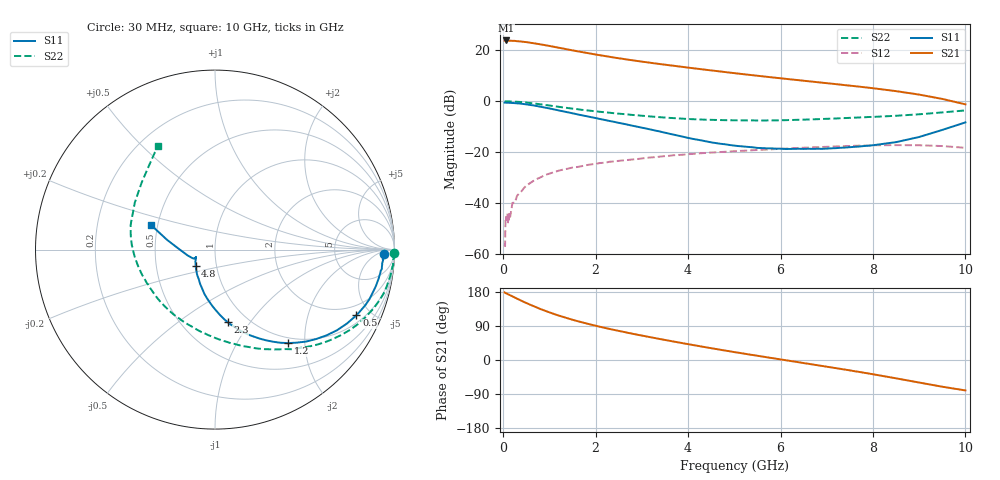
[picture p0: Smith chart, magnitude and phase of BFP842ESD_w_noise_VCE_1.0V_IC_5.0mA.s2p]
! Infineon Technologies  Discrete & RF Semiconductors
! BFP842ESD
! VCE =  1.0 V,  IC =  5.0 mA
! Common Emitter S-Parameters:  May 2012
# GHz  S  MA  R  50
!  f  S11  S21  S12  S22
! GHz  MAG  ANG  MAG  ANG  MAG  ANG  MAG  ANG
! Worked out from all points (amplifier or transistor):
!   99 points, 30 MHz to 10 GHz, reference 50 ohm
!   highest |S21| = 24.0 dB at 60 MHz (marker M1)
!   |S21| within 3 dB of that: start of sweep to 1.24 GHz
!   unconditionally stable (mu >= 1): 3.28 GHz to end of sweep
!   at 350 MHz: K = 0.17, MSG = 29.9 dB, |S12| = -36.2 dB
!   at 3.5 GHz: K = 1.03, MAG = 16.9 dB, |S12| = -21.6 dB
!   at 10 GHz: K = 2.22, MAG = 2.3 dB, |S12| = -18.3 dB
!   lowest NFmin = 0.41 dB at 450 MHz
!   S11 on the Smith chart (normalised r, x): 30 MHz: 27, -11; 500 MHz: 1.37, -4.09; 1.2 GHz: 0.90, -1.67; 2.3 GHz: 0.81, -0.78; 4.8 GHz: 0.79, -0.15; 10 GHz: 0.46, +0.15
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0.03  0.9392 -1.5  15.62 178.2  0.0015 59.4  0.9955 -1.1
0.04  0.939 -2.0  15.59 177.4  0.0014 75.4  0.9961 -1.4
0.05  0.9412 -2.8  15.51 176.5  0.005 76.9  0.9981 -1.9
0.06  0.9357 -3.3  15.76 176.0  0.0053 34.0  0.9982 -2.8
0.09  0.9347 -4.7  15.45 174.6  0.0062 75.7  0.9935 -3.8
0.11  0.9348 -5.9  15.72 173.0  0.0051 98.0  0.9951 -4.6
0.25  0.919 -12.8  15.46 164.8  0.01 86.3  0.9822 -10.5
0.5  0.869 -24.9  14.63 150.4  0.0218 73.9  0.9416 -20.5
0.8  0.7827 -37.7  13.24 134.8  0.0315 63.6  0.8731 -31.0
1  0.7219 -45.2  12.29 125.7  0.0376 58.6  0.8245 -37.2
1.2  0.6612 -52.0  11.34 117.3  0.043 54.5  0.7783 -42.8
1.5  0.5793 -60.7  10.06 106.2  0.0495 49.4  0.7157 -50.2
1.7  0.5296 -66.1  9.314 99.6  0.0527 46.3  0.6783 -54.8
2.3  0.4092 -80.2  7.514 82.0  0.0643 39.1  0.5947 -67.6
2.8  0.3296 -90.4  6.406 69.3  0.0714 33.8  0.5376 -78.1
3.4  0.2523 -103.8  5.397 55.2  0.0814 27.8  0.4847 -92.0
4  0.1896 -118.3  4.601 41.8  0.0907 21.3  0.4474 -107.0
4.8  0.1422 -139.4  3.763 25.0  0.1012 12.5  0.4246 -127.3
5.1  0.1308 -146.0  3.495 19.0  0.105 9.0  0.4208 -134.3
6.7  0.1155 -157.4  2.43 -11.9  0.1239 -9.5  0.4407 -169.8
8.5  0.1567 -168.3  1.583 -48.4  0.1369 -36.9  0.5179 149.6
10  0.3835 158.9  0.87 -80.3  0.1211 -65.4  0.6601 118.9
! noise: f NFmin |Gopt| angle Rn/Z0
0.45  0.41  0.38  3  0.11
0.9  0.43  0.4  8  0.11
1.5  0.46  0.41  19  0.11
1.9  0.48  0.39  29  0.11
2.4  0.52  0.36  42  0.1
3.5  0.63  0.26  79  0.08
4  0.66  0.22  100  0.08
5  0.72  0.2  119  0.07
5.5  0.84  0.18  145  0.07
6  0.97  0.16  155  0.08
